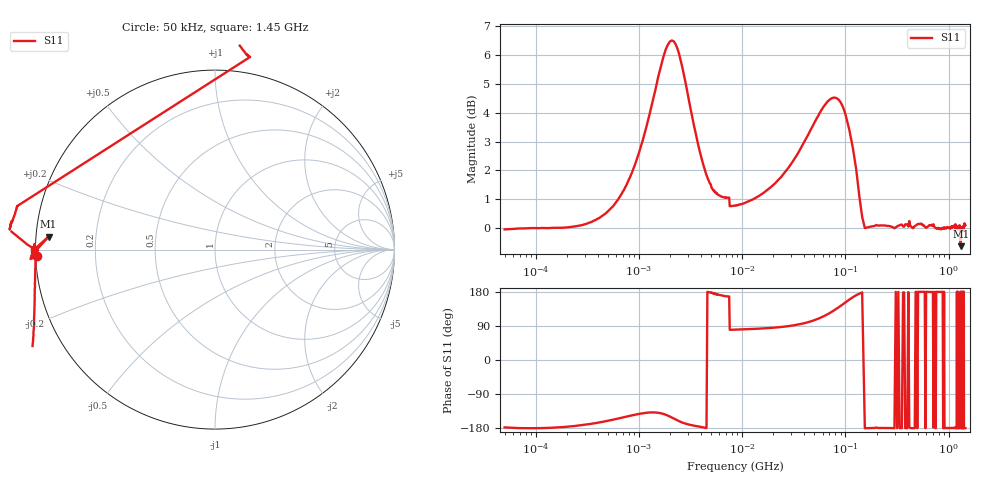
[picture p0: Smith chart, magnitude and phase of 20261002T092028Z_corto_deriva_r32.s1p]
! piloto_deriva / corto_deriva / r32
# HZ S RI R 50
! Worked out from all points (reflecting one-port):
!   501 points, 50 kHz to 1.45 GHz, reference 50 ohm
!   lowest |S11| = -0.6 dB at 1.306 GHz (marker M1), VSWR 27.61, Z = 1.81 + j1.95 ohm
!   phase of S11 starts at -178 deg and turns -2 deg over the sweep
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50000  -0.9939 -0.0367
183000  -0.9998 -0.0512
363500  -1.004 -0.2239
658000  -1.014 -0.5107
1180000  -1.135 -0.9766
1630000  -1.47 -1.21
1990000  -1.807 -1.08
2170000  -1.9 -0.9132
2440000  -1.901 -0.6441
3070000  -1.633 -0.2696
4330000  -1.263 -0.0313
7300000  -1.102 0.2427
7750000  0.1941 1.074
8560000  0.187 1.078
1.99e7  0.1011 1.183
3.16e7  -0.0348 1.312
4.69e7  -0.325 1.454
6.76e7  -0.86 1.419
7.93e7  -1.141 1.237
9.37e7  -1.354 0.8986
9.82e7  -1.385 0.7841
1e8  -1.39 0.7376
1.18e8  -1.332 0.3405
1.36e8  -1.134 0.1001
1.63e8  -1.002 -0.0035
4.06e8  -1.006 0.0135
1.306e9  -0.9273 0.0724
1.45e9  -1.011 -0.00235
